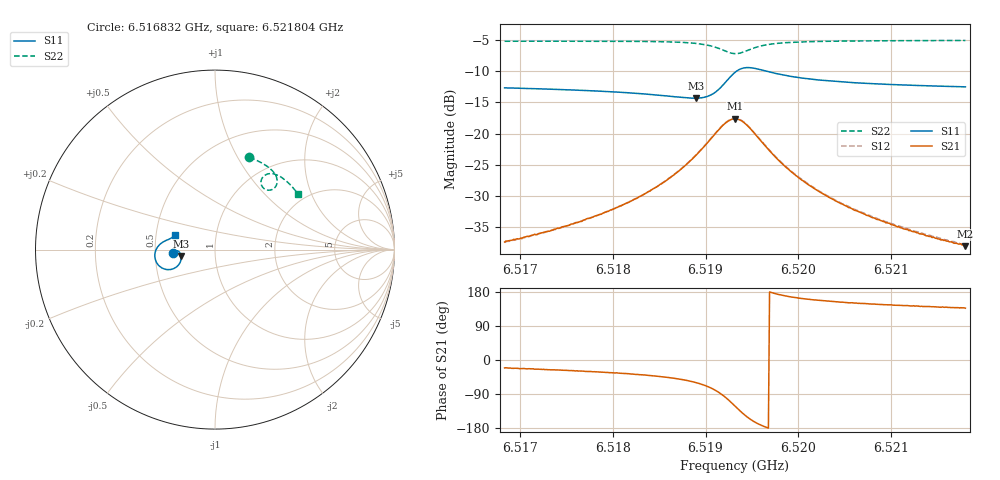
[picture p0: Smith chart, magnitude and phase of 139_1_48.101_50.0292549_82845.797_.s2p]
#  HZ  S  RI  R  50.00
! Rohde & Schwarz Vector Network Analyzer
! Rohde-Schwarz,ZNB20-2Port,1311601062101988,3.16
! Created: UTC 12/23/2023, 3:48:33 AM
! freq[Hz]  re:S11  im:S11  re:S21  im:S21  re:S12  im:S12  re:S22  im:S22
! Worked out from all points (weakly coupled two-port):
!   401 points, 6.516832 GHz to 6.521804 GHz, reference 50 ohm
!   highest |S21| = -17.62 dB at 6.519318 GHz (marker M1); lowest = -38.0 dB at 6.521804 GHz (marker M2)
!   lowest |S11| = -14.3 dB at 6.518895 GHz (marker M3), VSWR 1.48, Z = 34 - j2.54 ohm
!   |S11| at or under -10 dB: start of sweep to 6.519336 GHz; 6.519655 GHz to end of sweep
!   |S22| runs from -7.2 to -5.1 dB; largest |S21 - S12| = 0.0041
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6.5168323e9  -0.2315 -0.0203  0.0127 -0.00486  0.0128 -0.00439  0.1914 0.5135
6.517317e9  -0.2265 -0.0129  0.0149 -0.00716  0.0153 -0.00672  0.2271 0.4992
6.517665e9  -0.2218 -0.00867  0.0173 -0.00977  0.0178 -0.00932  0.253 0.4867
6.5181373e9  -0.2129 -0.00592  0.0225 -0.0161  0.0228 -0.0154  0.2884 0.4654
6.5184977e9  -0.2026 -0.00972  0.0281 -0.0265  0.029 -0.0257  0.3161 0.4427
6.518709e9  -0.1951 -0.0184  0.0322 -0.0384  0.0335 -0.0376  0.3322 0.4236
6.5188954e9  -0.1888 -0.036  0.0339 -0.0577  0.036 -0.0569  0.3442 0.3987
6.5190073e9  -0.1891 -0.0553  0.0302 -0.0765  0.0328 -0.0761  0.3468 0.3775
6.5190943e9  -0.1971 -0.0767  0.0198 -0.0956  0.0227 -0.096  0.3413 0.3575
6.5192186e9  -0.2357 -0.1078  -0.0196 -0.1205  -0.0161 -0.1219  0.3121 0.3326
6.519318e9  -0.2908 -0.1045  -0.0689 -0.112  -0.0661 -0.1148  0.2746 0.339
6.5193802e9  -0.3196 -0.0813  -0.0919 -0.0887  -0.09 -0.092  0.2591 0.3586
6.5194423e9  -0.3336 -0.0506  -0.101 -0.0607  -0.1001 -0.0641  0.2566 0.3812
6.5195417e9  -0.3314 -0.00862  -0.0945 -0.025  -0.0946 -0.028  0.2704 0.408
6.5196536e9  -0.3158 0.0198  -0.0781 -0.00336  -0.0788 -0.00573  0.2927 0.4211
6.5198897e9  -0.2862 0.0442  -0.0511 0.0112  -0.0519 0.00965  0.3311 0.4208
6.5201507e9  -0.2667 0.0536  -0.035 0.0132  -0.0356 0.0124  0.3598 0.409
6.5203372e9  -0.2576 0.0575  -0.0279 0.0131  -0.0286 0.0124  0.3759 0.3987
6.5205733e9  -0.2489 0.0615  -0.022 0.0123  -0.0226 0.0117  0.3933 0.3853
6.5209835e9  -0.238 0.0675  -0.0158 0.0109  -0.0162 0.0105  0.4191 0.3613
6.5214557e9  -0.229 0.0742  -0.0115 0.00938  -0.0119 0.00925  0.4445 0.3326
6.5218037e9  -0.2232 0.0791  -0.00917 0.00863  -0.00982 0.00861  0.4611 0.3111
